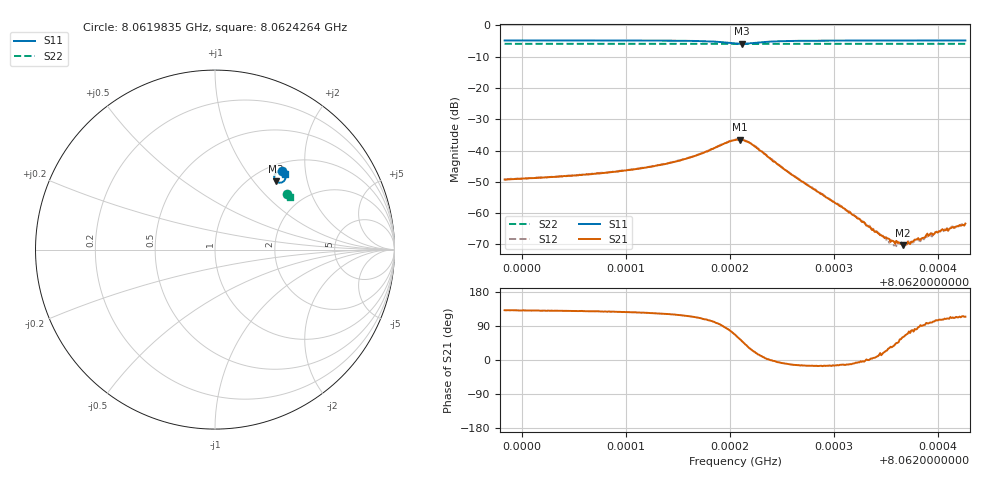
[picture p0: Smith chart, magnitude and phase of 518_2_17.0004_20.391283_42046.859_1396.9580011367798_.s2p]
#  HZ  S  RI  R  50.00
! Rohde & Schwarz Vector Network Analyzer
! Rohde-Schwarz,ZNB20-2Port,1311601062101988,3.16
! Created: UTC 3/20/2024, 11:15:17 PM
! freq[Hz]  re:S11  im:S11  re:S21  im:S21  re:S12  im:S12  re:S22  im:S22
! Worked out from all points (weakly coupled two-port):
!   401 points, 8.0619835 GHz to 8.0624264 GHz, reference 50 ohm
!   highest |S21| = -36.48 dB at 8.0622094 GHz (marker M1); lowest = -70.3 dB at 8.0623666 GHz (marker M2)
!   lowest |S11| = -5.8 dB at 8.0622116 GHz (marker M3), VSWR 3.09, Z = 63.7 + j65.6 ohm
!   |S11| at or under -10 dB: nowhere
!   |S22| runs from -5.9 to -5.9 dB; largest |S21 - S12| = 0.00099
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8.06198348e9  0.3759 0.4366  -0.00227 0.00258  -0.00211 0.00274  0.4027 0.3123
8.06205767e9  0.3819 0.4308  -0.00258 0.00313  -0.00242 0.00335  0.4053 0.3084
8.06210197e9  0.386 0.4256  -0.00287 0.00392  -0.00266 0.0041  0.4069 0.3062
8.06213187e9  0.3895 0.42  -0.00315 0.00491  -0.00287 0.00513  0.408 0.3044
8.06216509e9  0.3931 0.4073  -0.00325 0.00738  -0.00284 0.00763  0.4092 0.3022
8.06218945e9  0.387 0.3854  -0.00107 0.0118  -0.000378 0.0119  0.4093 0.3003
8.06220495e9  0.358 0.3727  0.00576 0.0135  0.00663 0.0133  0.4084 0.2994
8.06220938e9  0.3459 0.3767  0.00845 0.0124  0.00917 0.0119  0.4081 0.2994
8.0622116e9  0.3404 0.3808  0.00957 0.0113  0.0103 0.0109  0.4079 0.2995
8.06222267e9  0.3303 0.4085  0.0112 0.00473  0.0115 0.00414  0.4082 0.3005
8.06225368e9  0.3574 0.4355  0.00477 -0.0008  0.00478 -0.00109  0.4108 0.2998
8.06227915e9  0.3694 0.435  0.00241 -0.000641  0.00244 -0.000852  0.4122 0.2982
8.0623168e9  0.3784 0.4318  0.000956 -0.000186  0.000944 -0.000223  0.4137 0.2964
8.06233784e9  0.3814 0.43  0.000545 5.28e-05  0.00056 -1.43e-05  0.4146 0.2951
8.06235334e9  0.3834 0.4289  0.000329 0.000201  0.000303 0.000139  0.4151 0.2943
8.06235777e9  0.3839 0.4285  0.000277 0.000215  0.000245 0.000177  0.4153 0.2941
8.06236331e9  0.3845 0.428  0.000196 0.000272  0.000203 0.000252  0.4155 0.2938
8.06236663e9  0.3848 0.4279  0.000149 0.000268  0.000165 0.00027  0.4156 0.2935
8.06237106e9  0.3853 0.4276  0.000121 0.000327  0.000116 0.000319  0.4158 0.2934
8.06238103e9  0.3863 0.4268  2.32e-05 0.000396  3.6e-05 0.000372  0.4162 0.2928
8.06240096e9  0.388 0.4256  -0.000145 0.000489  -9.66e-05 0.000509  0.4169 0.2919
8.06242643e9  0.3904 0.4239  -0.000281 0.000619  -0.000262 0.000643  0.4177 0.2904
